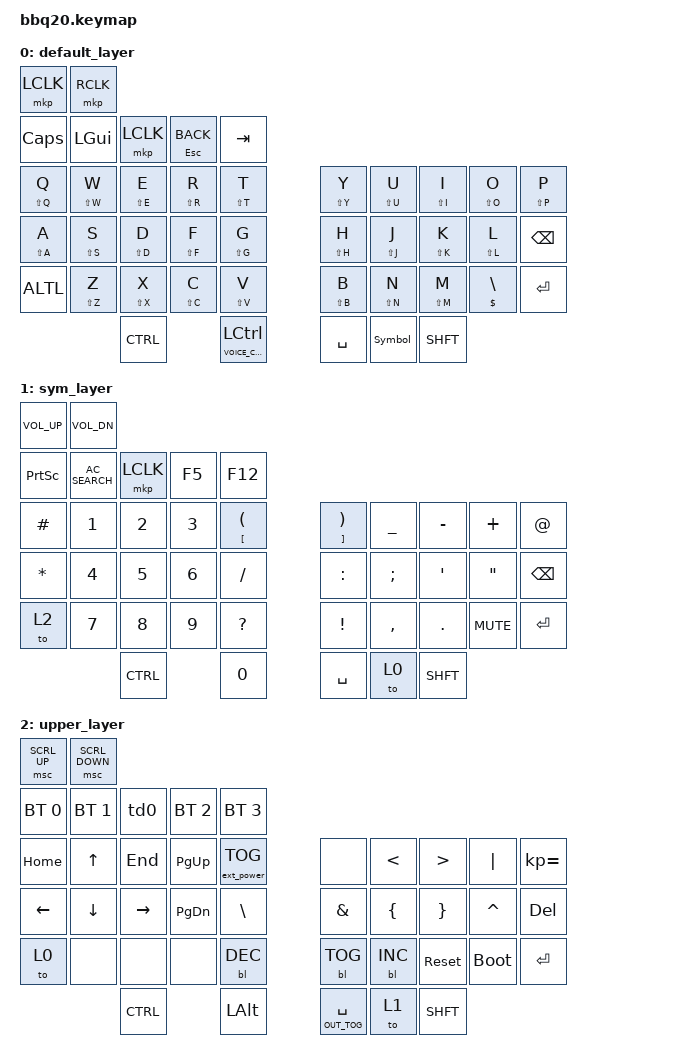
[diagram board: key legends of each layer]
/*
 * Copyright (c) 2023 ZitaoTech
 *
 * SPDX-License-Identifier: MIT
 */

#include <dt-bindings/zmk/mouse.h>
#include <behaviors.dtsi>
#include <dt-bindings/zmk/backlight.h>
#include <dt-bindings/zmk/bt.h>
#include <dt-bindings/zmk/ext_power.h>
#include <dt-bindings/zmk/keys.h>
#include <dt-bindings/zmk/outputs.h>
/*#include <dt-bindings/zmk/pointing.h>
*/


#define SYM 1
#define UPPER 2

&mt {
    tapping-term-ms = <200>;
    flavor = "tap-preferred";
};

/ {
    behaviors {
        td0: tap_dance_0 {
            compatible = "zmk,behavior-tap-dance";
            #binding-cells = <0>;
            tapping-term-ms = <400>;
            bindings = <&mkp LCLK>, <&bt BT_CLR>;
        };
    };

    behaviors {
        hm: homerow_mods {
            compatible = "zmk,behavior-hold-tap";
            #binding-cells = <2>;
            tapping-term-ms = <500>;
            bindings = <&out &kp>;
        };

        ALTL: ALTL {
            compatible = "zmk,behavior-tap-dance";
            #binding-cells = <0>;
            bindings = <&sl 2>, <&to 2>;

            tapping-term-ms = <300>;
        };

        SHFT: SHFT {
            compatible = "zmk,behavior-tap-dance";
            #binding-cells = <0>;
            bindings = <&sk LEFT_SHIFT>, <&kp CAPSLOCK>;

            tapping-term-ms = <300>;
        };

        Symbol: Symbol {
            compatible = "zmk,behavior-tap-dance";
            #binding-cells = <0>;
            bindings = <&sl 1>, <&to 1>;

            tapping-term-ms = <300>;
        };

        CTRL: CTRL {
            compatible = "zmk,behavior-tap-dance";
            #binding-cells = <0>;
            bindings = <&sk RCTRL>, <&kt RCTRL>;

            tapping-term-ms = <300>;
        };
    };

    combos { compatible = "zmk,combos"; };

    keymap {
        compatible = "zmk,keymap";

        default_layer {
            bindings = <
&mkp LCLK    &mkp RCLK
&kp CLCK     &kp LGUI     &mkp LCLK    &mt ESC K_BACK  &kp TAB
&mt LS(Q) Q  &mt LS(W) W  &mt LS(E) E  &mt LS(R) R     &mt LS(T) T                &mt LS(Y) Y    &mt LS(U) U  &mt LS(I) I  &mt LS(O) O      &mt LS(P) P
&mt LS(A) A  &mt LS(S) S  &mt LS(D) D  &mt LS(F) F     &mt LS(G) G                &mt LS(H) H    &mt LS(J) J  &mt LS(K) K  &mt LS(L) L      &kp BSPC
&ALTL        &mt LS(Z) Z  &mt LS(X) X  &mt LS(C) C     &mt LS(V) V                &mt LS(B) B    &mt LS(N) N  &mt LS(M) M  &mt DOLLAR BSLH  &kp ENTER
                          &CTRL                        &mt C_VOICE_COMMAND LCTRL  &kp SPACE      &Symbol      &SHFT
            >;
        };

        sym_layer {
            bindings = <
&kp C_VOL_UP  &kp C_VOL_DN
&kp PSCRN     &kp C_AC_SEARCH  &mkp LCLK  &kp F5  &kp F12
&kp HASH      &kp N1           &kp N2     &kp N3  &mt LBKT LPAR  &mt RBKT RPAR    &kp UNDER  &kp MINUS  &kp PLUS    &kp AT
&kp STAR      &kp N4           &kp N5     &kp N6  &kp SLASH      &kp COLON        &kp SEMI   &kp APOS   &kp DQT     &kp BACKSPACE
&to 2         &kp N7           &kp N8     &kp N9  &kp QMARK      &kp EXCL         &kp COMMA  &kp DOT    &kp C_MUTE  &kp ENTER
                               &CTRL              &kp N0         &kp SPACE        &to 0      &SHFT
            >;
        };

        upper_layer {
            bindings = <
&msc SCRL_UP  &msc SCRL_DOWN
&bt BT_SEL 0  &bt BT_SEL 1    &td0       &bt BT_SEL 2   &bt BT_SEL 3
&kp HOME      &kp UP          &kp END    &kp PAGE_UP    &ext_power EP_TOG  &none                &kp LT      &kp GT      &kp PIPE     &kp KP_EQUAL
&kp LEFT      &kp DOWN        &kp RIGHT  &kp PAGE_DOWN  &kp BSLH           &kp AMPS             &kp LBRC    &kp RBRC    &kp CARET    &kp DELETE
&to 0         &none           &none      &none          &bl BL_DEC         &bl BL_TOG           &bl BL_INC  &sys_reset  &bootloader  &kp ENTER
                              &CTRL                     &kp LALT           &hm OUT_TOG SPACE    &to 1       &SHFT
            >;
        };
    };
};
